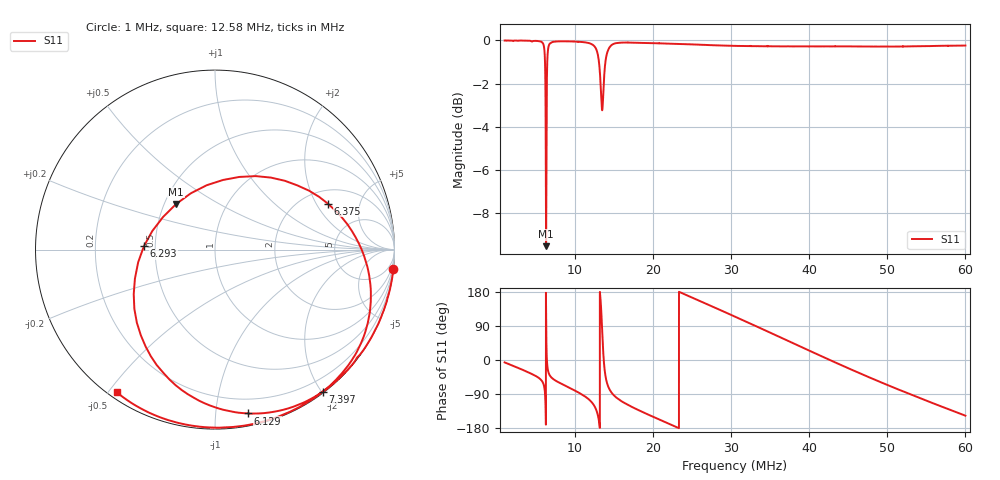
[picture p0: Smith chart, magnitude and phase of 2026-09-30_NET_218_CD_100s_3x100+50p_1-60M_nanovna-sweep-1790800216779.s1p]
! NanoVNA Web complex sweep
! Processing: unaveraged complex samples; linear segment spacing; no smoothing
# Hz S RI R 50
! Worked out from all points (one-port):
!   10100 points, 1 MHz to 60 MHz, reference 50 ohm
!   lowest |S11| = -9.5 dB at 6.31 MHz (marker M1), VSWR 2.00, Z = 28.7 + j16.4 ohm
!   |S11| at or under -10 dB: nowhere
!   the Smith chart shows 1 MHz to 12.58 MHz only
!   S11 on the Smith chart (normalised r, x): 1 MHz: 0, -18; 6.129 MHz: 0.09, -1.22; 6.293 MHz: 0.43, +0.02; 6.375 MHz: 2.65, +2.52; 7.397 MHz: 0.02, -2.02; 12.58 MHz: 0.02, -0.53
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1000000  0.9937 -0.1096
5054348  0.7295 -0.6801
5930648  0.4772 -0.8596
6129276  0.1855 -0.913
6292852  -0.3963 0.0188
6310378  -0.2172 0.2535
6374640  0.6286 0.2563
6666740  0.791 -0.5683
7396990  0.6012 -0.7912
8378446  0.4365 -0.8946
1.12235e7  -0.0898 -0.9861
1.257884e7  -0.5476 -0.795
1.310462e7  -0.8513 -0.2379
1.344346e7  -0.1307 0.6854
1.367714e7  0.7805 0.0601
1.38524e7  0.7285 -0.483
1.437234e7  0.246 -0.9274
1.575105e7  -0.2708 -0.95
1.926209e7  -0.7872 -0.595
2.31295e7  -0.9812 -0.0299
2.661133e7  -0.8474 0.4858
3.05021e7  -0.4002 0.8852
3.413582e7  0.1626 0.9557
3.78747e7  0.6853 0.6849
4.159606e7  0.9547 0.1647
4.525315e7  0.8849 -0.3941
5.262575e7  0.0361 -0.968
5.999836e7  -0.8153 -0.5312
